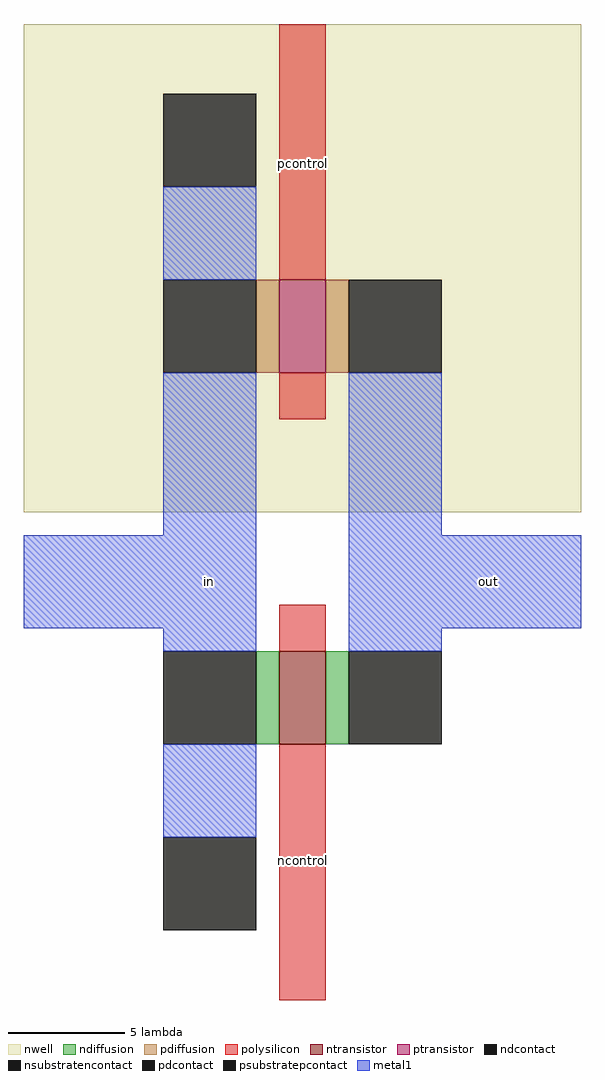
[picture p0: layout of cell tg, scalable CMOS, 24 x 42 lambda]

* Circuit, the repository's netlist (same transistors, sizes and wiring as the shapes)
* SPICE3 file created from tg.ext - technology: scmos

.option scale=0.1u

M1000 out ncontrol in in nfet w=4 l=2
+  ad=20 pd=18 as=36 ps=34
M1001 out pcontrol in in pfet w=4 l=2
+  ad=20 pd=18 as=36 ps=34

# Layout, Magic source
magic
tech scmos
<< nwell >>
rect -10 -6 14 15
<< ntransistor >>
rect 1 -16 3 -12
<< ptransistor >>
rect 1 0 3 4
<< ndiffusion >>
rect 0 -16 1 -12
rect 3 -16 4 -12
<< pdiffusion >>
rect 0 0 1 4
rect 3 0 4 4
<< ndcontact >>
rect -4 -16 0 -12
rect 4 -16 8 -12
<< pdcontact >>
rect -4 0 0 4
rect 4 0 8 4
<< psubstratepcontact >>
rect -4 -24 0 -20
<< nsubstratencontact >>
rect -4 8 0 12
<< polysilicon >>
rect 1 4 3 15
rect 1 -2 3 0
rect 1 -12 3 -10
rect 1 -27 3 -16
<< metal1 >>
rect -4 4 0 8
rect -4 -7 0 0
rect -10 -11 0 -7
rect -4 -12 0 -11
rect 4 -7 8 0
rect 4 -11 14 -7
rect 4 -12 8 -11
rect -4 -20 0 -16
<< labels >>
rlabel polysilicon 2 -21 2 -21 1 ncontrol
rlabel polysilicon 2 9 2 9 1 pcontrol
rlabel metal1 -2 -9 -2 -9 1 in
rlabel metal1 10 -9 10 -9 7 out
<< end >>
